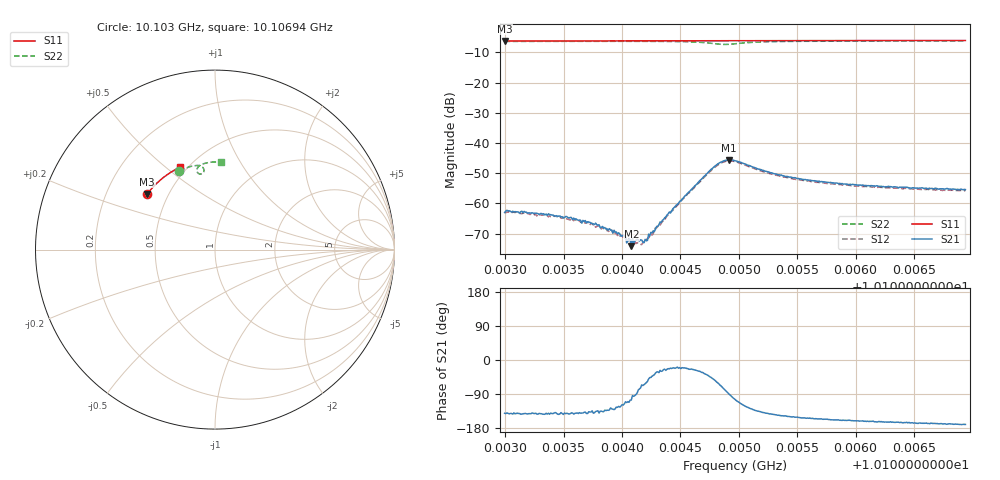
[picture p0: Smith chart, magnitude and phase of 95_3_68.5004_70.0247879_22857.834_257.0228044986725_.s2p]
#  HZ  S  RI  R  50.00
! Rohde & Schwarz Vector Network Analyzer
! Rohde-Schwarz,ZNB20-2Port,1311601062101988,3.16
! Created: UTC 3/20/2024, 4:52:50 PM
! freq[Hz]  re:S11  im:S11  re:S21  im:S21  re:S12  im:S12  re:S22  im:S22
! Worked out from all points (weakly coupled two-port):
!   401 points, 10.103 GHz to 10.10694 GHz, reference 50 ohm
!   highest |S21| = -45.57 dB at 10.10492 GHz (marker M1); lowest = -74.1 dB at 10.10408 GHz (marker M2)
!   lowest |S11| = -6.2 dB at 10.103 GHz (marker M3), VSWR 2.91, Z = 19.1 + j15.5 ohm
!   |S11| at or under -10 dB: nowhere
!   |S22| runs from -7.4 to -6.2 dB; largest |S21 - S12| = 0.00054
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1.0102995e10  -0.3779 0.3094  -0.000548 -0.000451  -0.000507 -0.000514  -0.1983 0.4379
1.0103025e10  -0.3768 0.3109  -0.000587 -0.000479  -0.000531 -0.000479  -0.1967 0.4388
1.010339e10  -0.363 0.3283  -0.0005 -0.000418  -0.000465 -0.000386  -0.1741 0.4491
1.0103656e10  -0.3525 0.3407  -0.00036 -0.000306  -0.000358 -0.000356  -0.1572 0.4559
1.0103784e10  -0.3473 0.3465  -0.000316 -0.000314  -0.000279 -0.000309  -0.1486 0.459
1.0103952e10  -0.3404 0.3539  -0.000191 -0.000279  -0.000159 -0.000273  -0.137 0.4626
1.0104011e10  -0.3379 0.3565  -0.000144 -0.000261  -0.000112 -0.00024  -0.1326 0.4638
1.010406e10  -0.3358 0.3587  -9.45e-05 -0.00024  -5.83e-05 -0.000259  -0.129 0.465
1.010408e10  -0.335 0.3596  -5.33e-05 -0.000189  -1.79e-05 -0.000232  -0.1276 0.4653
1.0104139e10  -0.3326 0.3621  4.62e-05 -0.000243  3.98e-05 -0.000215  -0.1231 0.4662
1.0104179e10  -0.3309 0.3637  8.86e-05 -0.000213  0.000113 -0.000194  -0.1198 0.4669
1.0104198e10  -0.3299 0.3646  0.000117 -0.000226  0.000115 -0.000212  -0.1183 0.4671
1.0104317e10  -0.3247 0.3697  0.000374 -0.000245  0.00039 -0.000224  -0.1082 0.4687
1.0104514e10  -0.316 0.3778  0.00111 -0.000408  0.00109 -0.000325  -0.0883 0.4681
1.0104761e10  -0.3047 0.3876  0.00256 -0.00259  0.00261 -0.00226  -0.0616 0.4445
1.0104849e10  -0.3005 0.391  0.00175 -0.00453  0.00207 -0.00421  -0.069 0.4251
1.0104918e10  -0.2975 0.3935  -2.58e-05 -0.00527  0.000423 -0.00504  -0.0866 0.4217
1.0104968e10  -0.2953 0.3954  -0.00122 -0.00494  -0.00077 -0.00486  -0.0965 0.4281
1.0105293e10  -0.2799 0.4077  -0.00252 -0.00187  -0.00227 -0.00199  -0.0837 0.4693
1.0105628e10  -0.2632 0.4196  -0.00215 -0.00106  -0.00198 -0.00118  -0.0566 0.4806
1.0106289e10  -0.2293 0.4409  -0.00183 -0.00052  -0.0017 -0.000651  -0.0096 0.488
1.010694e10  -0.1944 0.4588  -0.00167 -0.000296  -0.00155 -0.000405  0.0336 0.489
